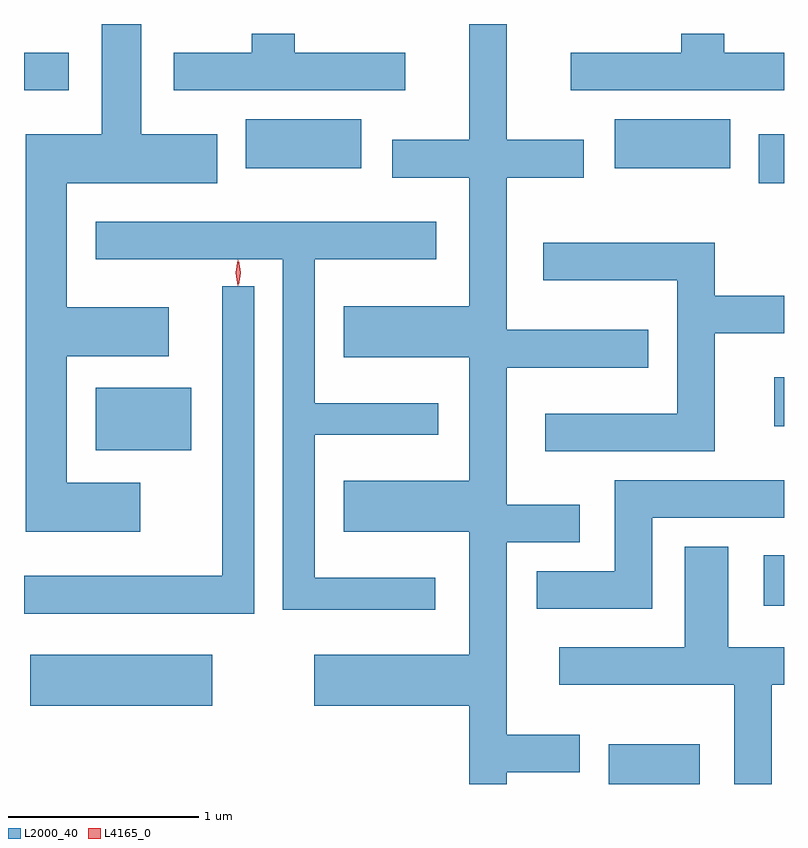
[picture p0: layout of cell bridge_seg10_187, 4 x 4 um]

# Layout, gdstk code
import gdstk
lib = gdstk.Library(unit=1e-6, precision=1e-09)
def R(c, l, rs):  # rectangles x0, y0, x1, y1
    for r in rs: c.add(gdstk.rectangle(r[:2], r[2:], *l))
def P(c, l, *ps):  # polygons
    for p in ps: c.add(gdstk.Polygon(p, *l))
L2000_40 = (2000, 40)
L4165_0 = (4165, 0)

bridge_seg10_187 = lib.new_cell('bridge_seg10_187')
R(bridge_seg10_187, L2000_40, [(1904.906,2139.554,1905.384,2139.764), (1901.861,2139.966,1902.819,2140.234), (1905.721,2140.491,1905.828,2140.759), (1902.206,2141.311,1902.709,2141.639), (1905.776,2141.436,1905.828,2141.694), (1905.696,2142.716,1905.828,2142.974), (1902.996,2142.796,1903.604,2143.054), (1904.936,2142.796,1905.544,2143.054), (1901.828,2143.206,1902.064,2143.404)])
P(bridge_seg10_187, L2000_40, [(1904.369,2139.616),(1904.754,2139.616),(1904.754,2139.814),(1904.369,2139.814),(1904.369,2140.826),(1904.754,2140.826),(1904.754,2141.024),(1904.369,2141.024),(1904.369,2141.746),(1905.114,2141.746),(1905.114,2141.944),(1904.369,2141.944),(1904.369,2142.746),(1904.774,2142.746),(1904.774,2142.944),(1904.369,2142.944),(1904.369,2143.554),(1904.171,2143.554),(1904.171,2142.944),(1903.766,2142.944),(1903.766,2142.746),(1904.171,2142.746),(1904.171,2142.069),(1903.511,2142.069),(1903.511,2141.801),(1904.171,2141.801),(1904.171,2141.149),(1903.511,2141.149),(1903.511,2140.881),(1904.171,2140.881),(1904.171,2140.234),(1903.356,2140.234),(1903.356,2139.966),(1904.171,2139.966),(1904.171,2139.554),(1904.369,2139.554)],
  [(1902.439,2141.139),(1902.054,2141.139),(1902.054,2141.806),(1902.589,2141.806),(1902.589,2142.064),(1902.054,2142.064),(1902.054,2142.716),(1902.844,2142.716),(1902.844,2142.974),(1902.444,2142.974),(1902.444,2143.554),(1902.236,2143.554),(1902.236,2142.974),(1901.836,2142.974),(1901.836,2140.881),(1902.439,2140.881)],
  [(1903.834,2143.404),(1903.254,2143.404),(1903.254,2143.504),(1903.026,2143.504),(1903.026,2143.404),(1902.616,2143.404),(1902.616,2143.206),(1903.834,2143.206)],
  [(1905.828,2143.404),(1905.514,2143.404),(1905.514,2143.504),(1905.286,2143.504),(1905.286,2143.404),(1904.706,2143.404),(1904.706,2143.206),(1905.828,2143.206)],
  [(1903.993,2140.639),(1903.359,2140.639),(1903.359,2141.391),(1904.008,2141.391),(1904.008,2141.559),(1903.359,2141.559),(1903.359,2142.316),(1903.999,2142.316),(1903.999,2142.514),(1902.206,2142.514),(1902.206,2142.316),(1903.191,2142.316),(1903.191,2140.471),(1903.993,2140.471)],
  [(1905.464,2141.926),(1905.828,2141.926),(1905.828,2142.124),(1905.464,2142.124),(1905.464,2142.404),(1904.561,2142.404),(1904.561,2142.206),(1905.266,2142.206),(1905.266,2141.504),(1904.571,2141.504),(1904.571,2141.306),(1905.464,2141.306)],
  [(1903.039,2142.173),(1902.871,2142.173),(1902.871,2140.649),(1901.828,2140.649),(1901.828,2140.451),(1903.039,2140.451)],
  [(1905.134,2140.956),(1905.828,2140.956),(1905.828,2141.154),(1904.936,2141.154),(1904.936,2140.674),(1904.526,2140.674),(1904.526,2140.476),(1905.134,2140.476)],
  [(1905.764,2140.076),(1905.828,2140.076),(1905.828,2140.274),(1905.534,2140.274),(1905.534,2140.804),(1905.306,2140.804),(1905.306,2140.274),(1904.646,2140.274),(1904.646,2140.076),(1905.566,2140.076),(1905.566,2139.554),(1905.764,2139.554)])
P(bridge_seg10_187, L4165_0, [(1902.957,2142.178),(1902.948,2142.244),(1902.958,2142.31),(1902.958,2142.311),(1902.959,2142.31),(1902.968,2142.244),(1902.958,2142.178),(1902.958,2142.178)],
  [(1902.952,2142.174),(1902.952,2142.175),(1902.942,2142.244),(1902.952,2142.313),(1902.952,2142.314),(1902.953,2142.313),(1902.962,2142.244),(1902.953,2142.175)])

lib.write_gds('bridge_seg10_187.gds')
